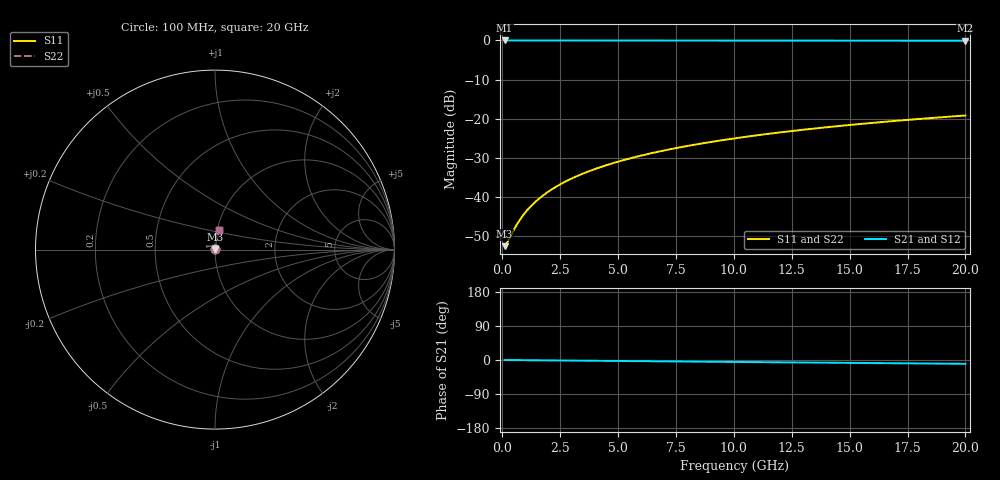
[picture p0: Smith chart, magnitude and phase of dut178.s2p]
! Touchstone file exported from HFSS 2026.1.0
!  File:  C:/ffzhzh/LocalFiles/Ansys_Project_Files/temp_train_TMRDL_178_1782983585_40604.aedt
!  Generated:  05:14:16 PM Jul  2, 2026
!  Design:  TMRDL
!  Project:  temp_train_TMRDL_178_1782983585_40604
! Variables:
!  h_bsmrdl = 2um
!  h_ox = 20um
!  h_rdl = 5um
!  h_sub = 80um
!  h_tmrdl = 2.06um
!  h_tsv = 80um
!  h_via = 3um
!  l_bsmrdl = 300um
!  l_sub = 523.12um
!  l_tmrdl = 123.12um
!  m_sub = 200um
!  pitch = 25.17um
!  r_tsv = 6um
!  s_tmrdl = 10um
!  w_bsmrdl = 18um
!  w_sub = 500um
!  w_tmrdl = 10.66um
!  x_tsv_center1 = 128.45um
!  x_tsv_center2 = 446.45um
!  x_tsv_center3 = 580.23um
!  x_tsv_center4 = 898.23um
!  x_tsv_center5 = 1032.01um
!  x_tsv_center6 = 1350.01um
# GHz S MA R 50.000000
! Terminal data exported
! Port[1] = TM_RDL1_1_T1
! Port[2] = TM_RDL1_1_T2
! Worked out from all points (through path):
!   200 points, 100 MHz to 20 GHz, reference 50 ohm
!   highest |S21| = -0.02 dB at 100 MHz (marker M1); lowest = -0.1 dB at 20 GHz (marker M2)
!   group delay of S21, straight-line fit = 1.4 ps
!   lowest |S11| = -52.5 dB at 100 MHz (marker M3), VSWR 1.00, Z = 50.2 + j0.061 ohm
!   |S11| at or under -10 dB: start of sweep to end of sweep
!   |S22| runs from -52.5 to -19.2 dB; largest |S21 - S12| = 2e-15
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0.1  0.00237 14.8  0.9977 -0.1  0.9977 -0.1  0.00237 14.8
! Gamma 0 0 0 0
! Port Impedance 50 0 50 0
0.2  0.002604 27.8  0.9977 -0.1  0.9977 -0.1  0.002604 27.8
0.6  0.004328 56.0  0.9976 -0.3  0.9976 -0.3  0.004328 56.0
0.8  0.005359 62.2  0.9975 -0.4  0.9975 -0.4  0.005359 62.2
0.9  0.005887 64.5  0.9975 -0.5  0.9975 -0.5  0.005887 64.5
1.1  0.006952 67.9  0.9974 -0.6  0.9974 -0.6  0.006952 67.9
1.4  0.008564 71.5  0.9973 -0.7  0.9973 -0.7  0.008564 71.5
1.6  0.009644 73.2  0.9973 -0.8  0.9973 -0.8  0.009644 73.2
1.8  0.01073 74.5  0.9973 -0.9  0.9973 -0.9  0.01073 74.5
2.3  0.01346 77.0  0.9972 -1.2  0.9972 -1.2  0.01346 77.0
2.9  0.01675 78.8  0.997 -1.5  0.997 -1.5  0.01675 78.8
3.5  0.02007 80.0  0.9969 -1.8  0.9969 -1.8  0.02007 80.0
4.2  0.02395 80.8  0.9968 -2.2  0.9968 -2.2  0.02395 80.8
5  0.02839 81.4  0.9966 -2.6  0.9966 -2.6  0.02839 81.4
5.9  0.03339 81.7  0.9964 -3.0  0.9964 -3.0  0.03339 81.7
6.8  0.03838 81.8  0.9961 -3.5  0.9961 -3.5  0.03838 81.8
8.3  0.04669 81.7  0.9956 -4.2  0.9956 -4.2  0.04669 81.7
10.1  0.05661 81.3  0.9949 -5.1  0.9949 -5.1  0.05661 81.3
11.7  0.06539 80.8  0.9941 -5.9  0.9941 -5.9  0.06539 80.8
13.4  0.07466 80.2  0.9933 -6.8  0.9933 -6.8  0.07466 80.2
16.7  0.0925 78.8  0.9913 -8.5  0.9913 -8.5  0.0925 78.8
20  0.1101 77.4  0.989 -10.1  0.989 -10.1  0.1101 77.4
